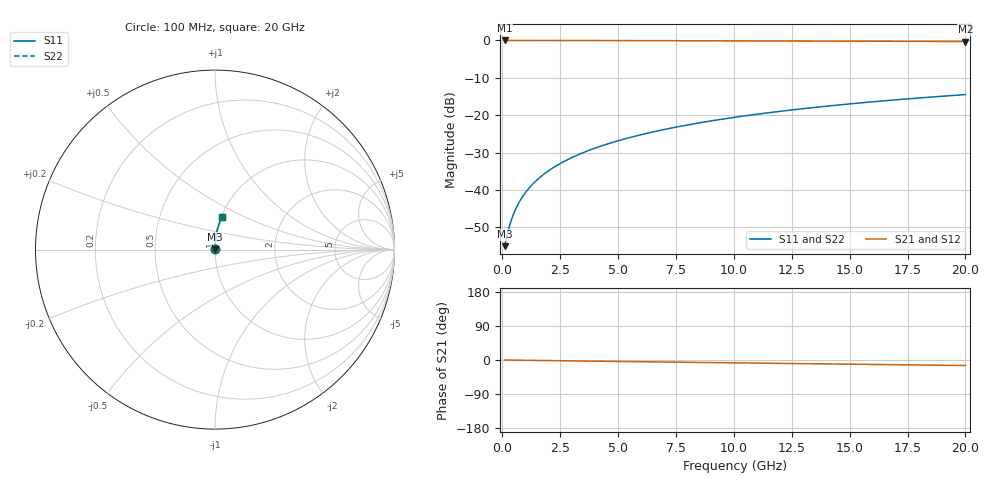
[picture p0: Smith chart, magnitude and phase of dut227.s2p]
! Touchstone file exported from HFSS 2024.1.0
!  File:  C:/UserFiles/LocalFiles/RDL_TSV_Batchsim/temp_RDL_bottom_227_1778700696.aedt
!  Generated:  03:34:17 AM May 14, 2026
!  Design:  RDL_bottom
!  Project:  temp_RDL_bottom_227_1778700696
!  Setup:  Setup1
!  Solution:  Sweep
! Variables:
!  dtsv = 10.80580581um
!  hbump = 3um
!  htsv = 57.12um
!  ldown = 144.42um
!  lrdl = 100um
!  p = 40
!  p1 = 50.41um
!  rhole = 1um
!  t = 450um
!  tdown = 2.56um
!  trdl = 3.915915916um
!  wdown = 16.34um
!  wrdl = 20um
# GHz S MA R 50.000000
! Terminal data exported
! Port[1] = RDL1_T1
! Port[2] = RDL1_T2
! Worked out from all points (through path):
!   200 points, 100 MHz to 20 GHz, reference 50 ohm
!   highest |S21| = -0.01 dB at 100 MHz (marker M1); lowest = -0.3 dB at 20 GHz (marker M2)
!   group delay of S21, straight-line fit = 2 ps
!   lowest |S11| = -55.0 dB at 100 MHz (marker M3), VSWR 1.00, Z = 50.2 + j0.0945 ohm
!   |S11| at or under -10 dB: start of sweep to end of sweep
!   |S22| runs from -55.0 to -14.5 dB; largest |S21 - S12| = 5.4e-15
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0.1  0.001776 32.0  0.9985 -0.1  0.9985 -0.1  0.001776 32.0
! Gamma 0 0 0 0
! Port Impedance 50 0 50 0
0.2  0.00242 50.9  0.9985 -0.2  0.9985 -0.2  0.00242 50.9
0.3  0.003207 61.0  0.9984 -0.2  0.9984 -0.2  0.003207 61.0
0.4  0.004045 66.8  0.9984 -0.3  0.9984 -0.3  0.004045 66.8
0.5  0.004902 70.6  0.9983 -0.4  0.9983 -0.4  0.004902 70.6
0.6  0.005767 73.3  0.9983 -0.5  0.9983 -0.5  0.005767 73.3
0.8  0.007507 76.8  0.9982 -0.6  0.9982 -0.6  0.007507 76.8
1.1  0.01013 79.9  0.998 -0.9  0.998 -0.9  0.01013 79.9
1.5  0.01366 82.3  0.9978 -1.2  0.9978 -1.2  0.01366 82.3
1.8  0.01633 83.4  0.9976 -1.4  0.9976 -1.4  0.01633 83.4
2.1  0.01901 84.2  0.9974 -1.7  0.9974 -1.7  0.01901 84.2
2.7  0.02441 85.2  0.997 -2.1  0.997 -2.1  0.02441 85.2
3.5  0.03169 86.0  0.9962 -2.8  0.9962 -2.8  0.03169 86.0
4.2  0.03813 86.3  0.9954 -3.3  0.9954 -3.3  0.03813 86.3
5  0.04557 86.4  0.9944 -3.9  0.9944 -3.9  0.04557 86.4
5.9  0.05404 86.4  0.9931 -4.6  0.9931 -4.6  0.05404 86.4
6.8  0.06259 86.1  0.9918 -5.2  0.9918 -5.2  0.06259 86.1
8.3  0.07699 85.5  0.9893 -6.3  0.9893 -6.3  0.07699 85.5
10.1  0.09439 84.5  0.9862 -7.6  0.9862 -7.6  0.09439 84.5
13.4  0.1263 82.3  0.9801 -10.0  0.9801 -10.0  0.1263 82.3
16.7  0.1578 80.0  0.9735 -12.2  0.9735 -12.2  0.1578 80.0
20  0.1887 77.6  0.9664 -14.5  0.9664 -14.5  0.1887 77.6
